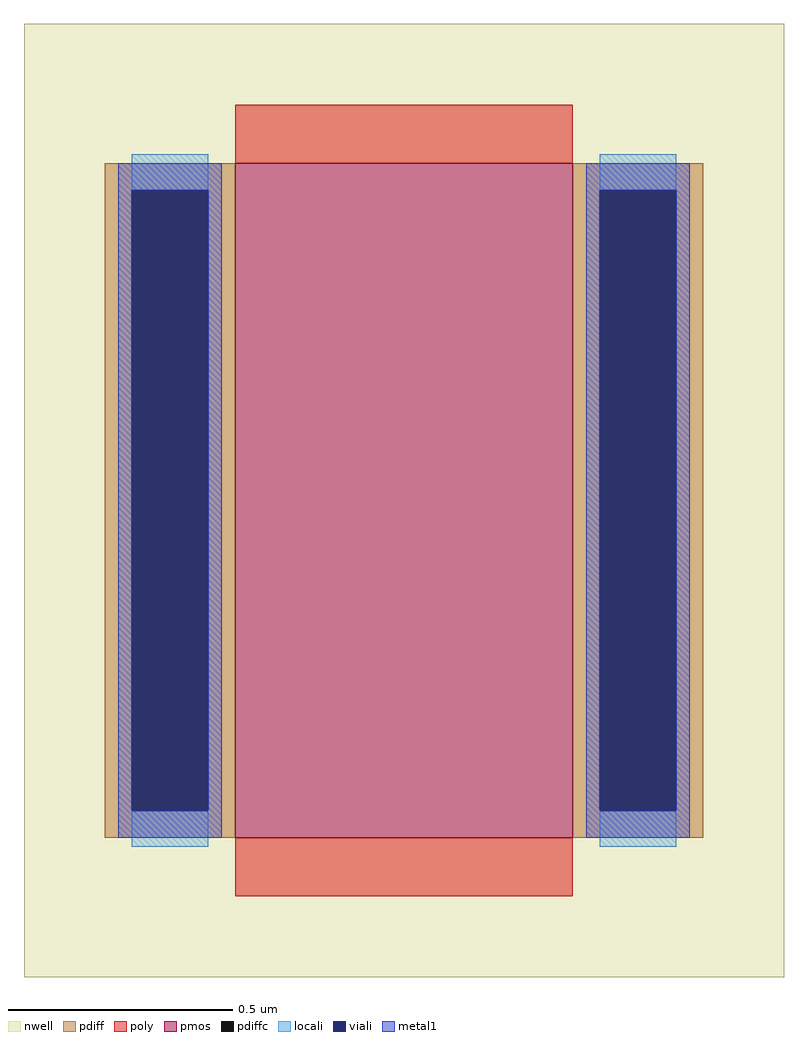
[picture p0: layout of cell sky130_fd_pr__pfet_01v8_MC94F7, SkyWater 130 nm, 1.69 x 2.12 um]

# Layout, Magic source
magic
tech sky130A
magscale 1 2
<< nwell >>
rect -169 -212 169 212
<< pmos >>
rect -75 -150 75 150
<< pdiff >>
rect -133 138 -75 150
rect -133 -138 -121 138
rect -87 -138 -75 138
rect -133 -150 -75 -138
rect 75 138 133 150
rect 75 -138 87 138
rect 121 -138 133 138
rect 75 -150 133 -138
<< pdiffc >>
rect -121 -138 -87 138
rect 87 -138 121 138
<< poly >>
rect -75 150 75 176
rect -75 -176 75 -150
<< locali >>
rect -121 138 -87 154
rect -121 -154 -87 -138
rect 87 138 121 154
rect 87 -154 121 -138
<< viali >>
rect -121 -138 -87 138
rect 87 -138 121 138
<< metal1 >>
rect -127 138 -81 150
rect -127 -138 -121 138
rect -87 -138 -81 138
rect -127 -150 -81 -138
rect 81 138 127 150
rect 81 -138 87 138
rect 121 -138 127 138
rect 81 -150 127 -138
<< properties >>
string gencell sky130_fd_pr__pfet_01v8
string library sky130
string parameters w 1.5 l 0.75 m 1 nf 1 diffcov 100 polycov 100 guard 0 glc 0 grc 0 gtc 0 gbc 0 tbcov 100 rlcov 100 topc 0 botc 0 poverlap 0 doverlap 1 lmin 0.15 wmin 0.42 compatible {sky130_fd_pr__pfet_01v8  sky130_fd_pr__pfet_01v8_lvt sky130_fd_pr__pfet_01v8_hvt  sky130_fd_pr__pfet_g5v0d10v5} full_metal 0 viasrc 100 viadrn 100 viagate 100 viagb 0 viagr 0 viagl 0 viagt 0
<< end >>
